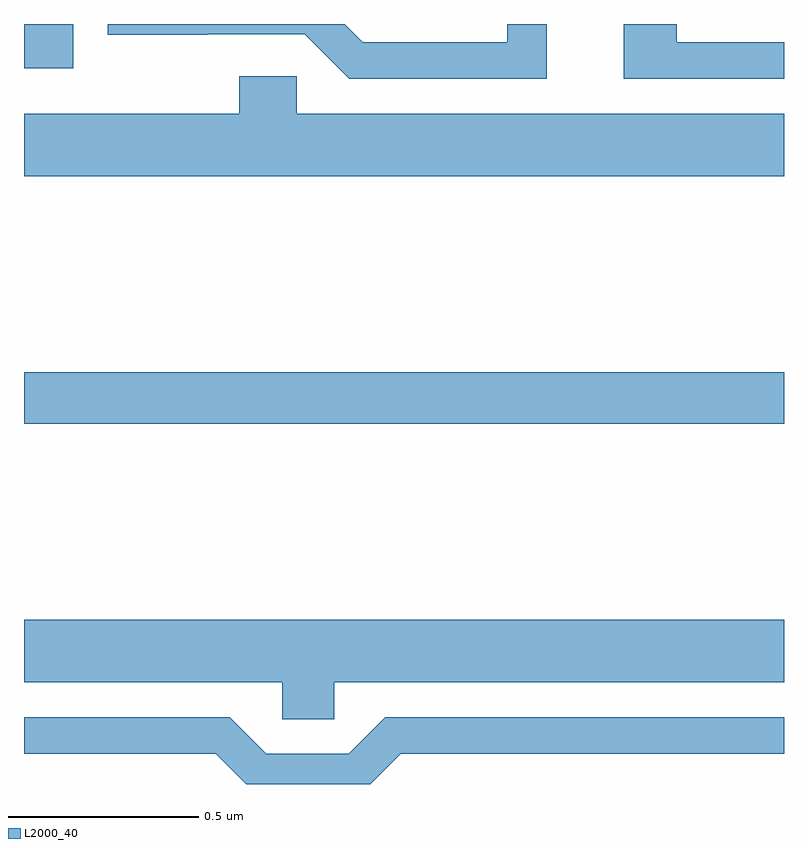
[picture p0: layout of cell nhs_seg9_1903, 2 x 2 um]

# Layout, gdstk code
import gdstk
lib = gdstk.Library(unit=1e-6, precision=1e-09)
def R(c, l, rs):  # rectangles x0, y0, x1, y1
    for r in rs: c.add(gdstk.rectangle(r[:2], r[2:], *l))
def P(c, l, *ps):  # polygons
    for p in ps: c.add(gdstk.Polygon(p, *l))
L2000_40 = (2000, 40)

nhs_seg9_1903 = lib.new_cell('nhs_seg9_1903')
R(nhs_seg9_1903, L2000_40, [(134,1182.448,136,1182.584)])
P(nhs_seg9_1903, L2000_40, [(135.376,1183.5),(135.272,1183.5),(135.272,1183.452),(134.892,1183.452),(134.844,1183.5),(134.22,1183.5),(134.22,1183.472),(134.483,1183.472),(134.483,1183.473),(134.739,1183.473),(134.856,1183.356),(135.376,1183.356)],
  [(134.13,1183.5),(134.033,1183.5),(134.033,1183.499),(134,1183.499),(134,1183.383),(134.13,1183.383)],
  [(136,1183.452),(135.718,1183.452),(135.718,1183.5),(135.578,1183.5),(135.578,1183.356),(136,1183.356)],
  [(136,1183.264),(134.718,1183.264),(134.718,1183.362),(134.567,1183.362),(134.567,1183.264),(134,1183.264),(134,1183.1),(136,1183.1)],
  [(134.817,1181.768),(136,1181.768),(136,1181.932),(134,1181.932),(134,1181.768),(134.679,1181.768),(134.679,1181.67),(134.817,1181.67)],
  [(134.991,1181.58),(136,1181.58),(136,1181.676),(134.951,1181.676),(134.855,1181.58),(134.637,1181.58),(134.541,1181.676),(134,1181.676),(134,1181.58),(134.505,1181.58),(134.585,1181.5),(134.911,1181.5)])

lib.write_gds('nhs_seg9_1903.gds')
